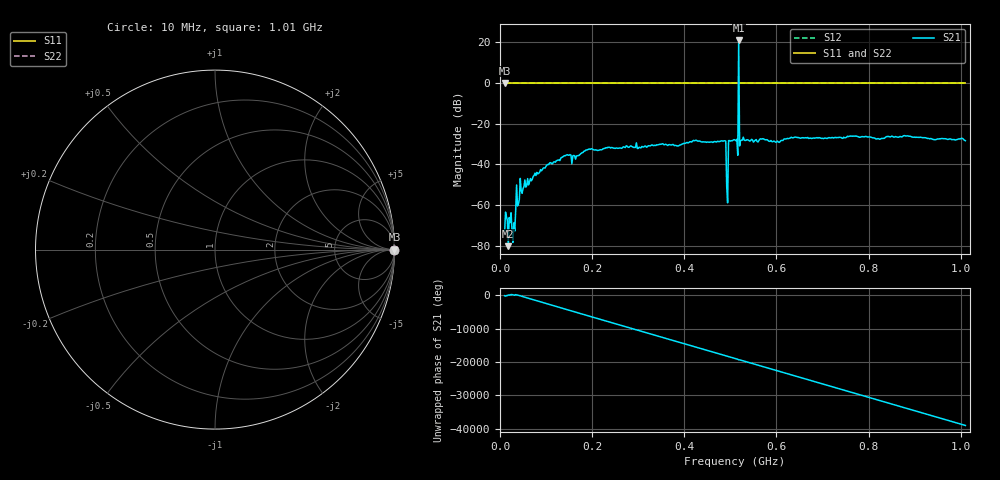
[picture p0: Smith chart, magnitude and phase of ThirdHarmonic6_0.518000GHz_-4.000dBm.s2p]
! 8/15/2025 3:53:44 PM
! C:\ANRITSUVNA\TEMP\TEMP.S2P
! CHANNEL.1
! TR.MEASUREMENT
! RAW.DATA
! RF.CORRECTION.OFF
! AVERAGING.OFF
! IF.BANDWIDTH: 5KHZ
! SWEEPTYPE:  FREQ.SWEEP(Linear)
! Reference Plane Port Info
! PORT:  PORT1  PORT2
! DISTANCE:  0  m  0  m
! TIME:  0  s  0  s
! PHASE.OFFSET:  0  deg.  0  deg.
! LOSS:  0  dB  0  dB
! REF.LOSS:  0  dB  0  dB
! REF.FREQ:  0  Hz  0  Hz
! Power Info
! POWER:  -20  dBm  -20  dBm
! EFF.POWER:  -20  dBm  -20  dBm
! SOURCE.ATTEN:  0  dB  0  dB
! TEST.ATTEN:  0  dB  0  dB
# GHZ S RI R 50.0
! FREQ.GHZ  S11RE  S11IM  S21RE  S21IM  S12RE  S12IM  S22RE  S22IM
!; PortSelection: Port_12
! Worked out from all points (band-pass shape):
!   501 points, 10 MHz to 1.01 GHz, reference 50 ohm
!   highest |S21| = 20.92 dB at 518 MHz (marker M1); lowest = -80.3 dB at 18 MHz (marker M2)
!   |S21| within 3 dB of the highest: 517.8938 MHz to 518.1156 MHz (221.9 kHz wide, 0.0428 % of centre)
!   lowest |S11| = 0.0 dB at 10 MHz (marker M3)
!   |S11| at or under -10 dB: nowhere
!   |S22| runs from 0.0 to 0.0 dB; largest |S21 - S12| = 11
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0.01  1 0  2.76e-05 -0.000201  1 0  1 0
0.018  1 0  -7.12e-05 6.57e-05  1 0  1 0
0.03  1 0  -0.000229 0.000281  1 0  1 0
0.04  1 0  0.000811 0.000669  1 0  1 0
0.076  1 0  0.00604 -0.000533  1 0  1 0
0.142  1 0  -0.0153 -0.00552  1 0  1 0
0.16  1 0  -0.0163 -0.00229  1 0  1 0
0.178  1 0  -0.0191 -0.00305  1 0  1 0
0.344  1 0  0.0288 -0.00969  1 0  1 0
0.486  1 0  0.0324 0.0197  1 0  1 0
0.49  1 0  -0.0239 -0.0286  1 0  1 0
0.496  1 0  0.0376 -0.00682  1 0  1 0
0.5  1 0  -0.0368 -0.00449  1 0  1 0
0.51  1 0  -0.0342 0.02  1 0  1 0
0.512  1 0  0.0147 0.0351  1 0  1 0
0.514  1 0  0.0402 -0.00906  1 0  1 0
0.518  1 0  -0.6996 11.1  1 0  1 0
0.522  1 0  0.035 0.0146  1 0  1 0
0.524  1 0  0.0209 -0.0331  1 0  1 0
0.678  1 0  -0.0289 -0.0327  1 0  1 0
0.844  1 0  0.0432 0.0215  1 0  1 0
1.01  1 0  -0.038 0.00265  1 0  1 0
